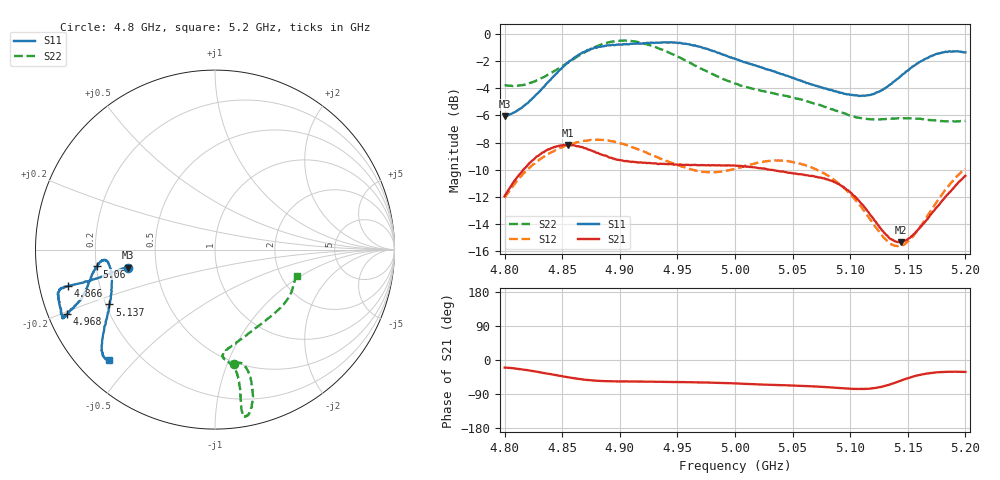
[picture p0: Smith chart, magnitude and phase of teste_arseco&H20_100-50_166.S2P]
! Network Analyzer HP8722D
! Hewlett-Packard
! Data name: Linha & Wilkinson
! Saver's name: Rodrigo Anjos
! Comments: Teste da utilização de aquisição
! continua pelo VNA HP8722D
! Time and date: 6/5/2025 13:57
!  Frequency  S11  S21  S12  S22
# HZ  S  MA R 50
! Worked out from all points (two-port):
!   401 points, 4.8 GHz to 5.2 GHz, reference 50 ohm
!   highest |S21| = -8.17 dB at 4.855 GHz (marker M1); lowest = -15.3 dB at 5.144 GHz (marker M2)
!   |S21| within 3 dB of the highest: 4.806 GHz to 5.092 GHz (286.6 MHz wide, 5.79 % of centre); 5.191363 GHz to end of sweep
!   lowest |S11| = -6.1 dB at 4.8 GHz (marker M3), VSWR 2.98, Z = 16.9 - j4.55 ohm
!   |S11| at or under -10 dB: nowhere
!   |S22| runs from -6.5 to -0.5 dB; largest |S21 - S12| = 0.62
!   S11 on the Smith chart (normalised r, x): 4.8 GHz: 0.34, -0.09; 4.866 GHz: 0.09, -0.12; 4.968 GHz: 0.06, -0.21; 5.06 GHz: 0.20, -0.07; 5.137 GHz: 0.21, -0.23; 5.2 GHz: 0.09, -0.42
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4.8e9  0.4974 -168.3  0.2532 -20.0  0.2498 -141.0  0.6475 -80.4
4.828e9  0.6015 -167.2  0.3543 -30.9  0.3395 -145.1  0.6757 -75.5
4.855e9  0.7827 -166.0  0.3905 -45.6  0.3898 -150.2  0.783 -74.7
4.866e9  0.8441 -166.0  0.3838 -50.5  0.4021 -152.1  0.8379 -75.4
4.867e9  0.8492 -166.0  0.3839 -51.1  0.4029 -152.2  0.8429 -75.5
4.88e9  0.8881 -165.7  0.3651 -54.8  0.408 -154.3  0.8987 -76.8
4.899e9  0.9141 -163.0  0.3441 -56.6  0.3969 -156.8  0.9427 -79.2
4.915e9  0.9206 -159.6  0.3367 -56.9  0.3777 -157.3  0.9341 -80.4
4.934e9  0.9285 -156.7  0.3322 -57.6  0.3502 -155.8  0.8826 -80.5
4.968e9  0.898 -156.4  0.329 -59.3  0.313 -147.7  0.7549 -79.8
5e9  0.8097 -159.2  0.3279 -61.9  0.3196 -137.3  0.6565 -81.3
5.036e9  0.7211 -165.8  0.314 -66.0  0.3419 -134.5  0.6001 -85.7
5.06e9  0.666 -171.9  0.3031 -68.3  0.3304 -136.2  0.5692 -84.2
5.067e9  0.6509 -173.1  0.3006 -69.2  0.3226 -137.0  0.5569 -82.7
5.099e9  0.5992 -172.6  0.2639 -75.7  0.2598 -139.0  0.502 -67.9
5.115e9  0.5944 -166.0  0.2232 -75.9  0.2146 -135.9  0.4864 -56.4
5.134e9  0.6474 -154.3  0.1775 -65.2  0.1705 -120.5  0.487 -43.3
5.137e9  0.6629 -152.5  0.1746 -62.2  0.1674 -116.7  0.489 -41.5
5.144e9  0.6989 -148.8  0.1712 -54.4  0.1659 -107.4  0.4893 -37.4
5.154e9  0.7581 -144.5  0.1814 -44.3  0.1795 -95.1  0.4884 -32.3
5.173e9  0.8363 -139.0  0.2244 -33.3  0.2339 -80.8  0.4814 -24.2
5.2e9  0.8543 -133.8  0.3006 -31.4  0.3193 -77.1  0.4785 -17.6
